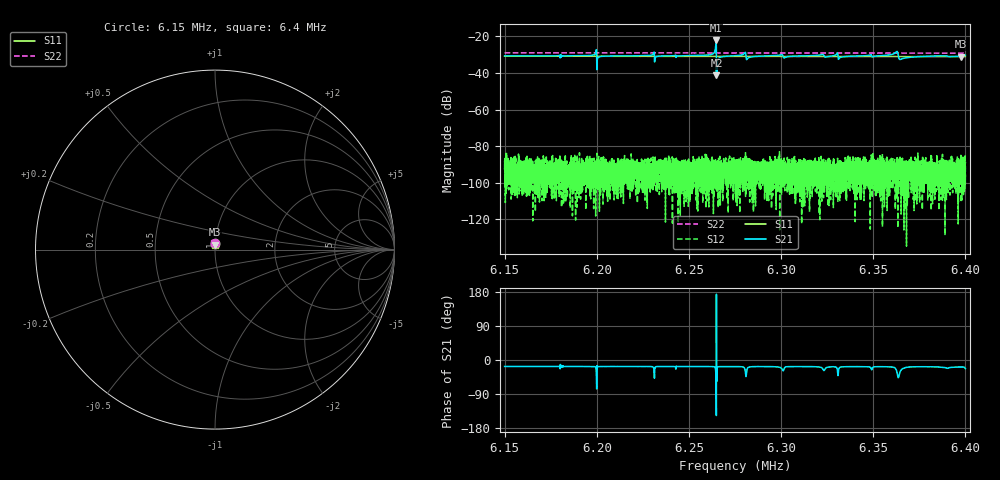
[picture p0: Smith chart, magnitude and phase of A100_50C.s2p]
!CETC41,AV3656A,ZGL00048,1.3.2
!Calibration ON (Full Solt 2-Port(Omit Isolation))
!Measurements: S11 S21 S12 S22
!2025-04-18 01:24
# Hz  S  dB  R 50.000
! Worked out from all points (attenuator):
!   6401 points, 6.15 MHz to 6.4 MHz, reference 50 ohm
!   highest |S21| = -22.21 dB at 6.2648 MHz (marker M1); lowest = -41.3 dB at 6.265 MHz (marker M2)
!   lowest |S11| = -31.0 dB at 6.3978 MHz (marker M3), VSWR 1.06, Z = 49.9 + j2.8 ohm
!   |S11| at or under -10 dB: start of sweep to end of sweep
!   |S22| runs from -29.1 to -28.9 dB; largest |S21 - S12| = 0.078
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6150000  -30.81 85.2  -30.69 -17.1  -92.95 -135.3  -28.94 90.6
6191680  -30.83 86.1  -30.55 -17.1  -90.23 165.1  -28.98 91.5
6198672  -30.86 86.4  -29.98 -17.5  -94.41 -156.8  -28.98 91.6
6201211  -30.84 86.4  -31.20 -17.4  -101.81 12.1  -28.99 91.7
6233359  -30.88 87.1  -30.84 -17.3  -88.73 43.5  -29.01 92.3
6260000  -30.91 87.7  -30.22 -17.3  -100.08 -59.9  -29.03 92.7
6263633  -30.91 87.8  -29.04 -17.9  -92.30 171.1  -29.03 92.8
6264766  -30.91 87.8  -22.21 -77.0  -98.56 82.3  -29.02 92.9
6264961  -30.91 87.8  -41.29 72.1  -94.72 -12.7  -29.03 92.8
6266172  -30.91 87.9  -31.93 -17.8  -93.17 115.7  -29.03 92.8
6267852  -30.91 87.9  -31.15 -17.4  -98.08 128.3  -29.04 92.8
6275000  -30.92 88.0  -30.56 -17.4  -95.15 150.8  -29.04 92.9
6279688  -30.92 88.2  -29.69 -19.1  -88.88 157.8  -29.05 93.0
6282266  -30.93 88.3  -31.70 -19.3  -88.29 132.8  -29.05 93.1
6316680  -30.96 89.0  -30.51 -17.6  -89.22 52.9  -29.07 93.7
6329609  -30.96 89.3  -30.14 -18.2  -107.79 31.1  -29.08 94.0
6332188  -30.98 89.3  -31.47 -18.8  -88.00 5.1  -29.08 93.9
6358359  -31.00 89.9  -30.19 -17.9  -94.76 74.0  -29.10 94.4
6362305  -31.01 90.1  -28.65 -23.9  -99.42 10.3  -29.11 94.5
6365195  -31.00 90.1  -32.38 -25.9  -93.54 -71.7  -29.10 94.6
6397813  -31.05 90.8  -30.74 -18.4  -97.74 177.8  -29.13 95.1
6400000  -31.03 90.9  -30.26 -22.6  -88.54 166.4  -29.13 95.1
